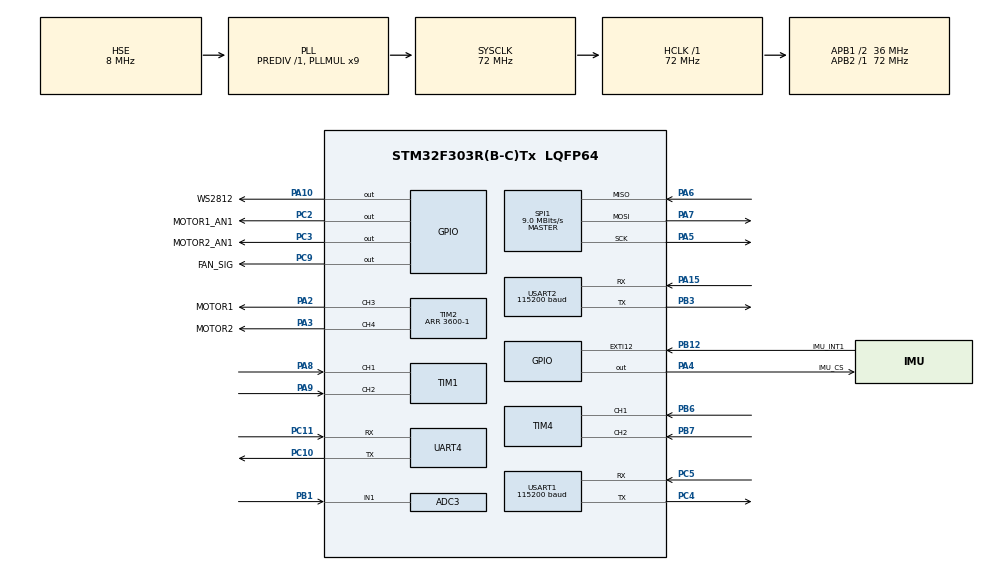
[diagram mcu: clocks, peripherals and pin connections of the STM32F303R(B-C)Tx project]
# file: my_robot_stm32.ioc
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ADC3.Channel-0\#ChannelRegularConversion=ADC_CHANNEL_1
ADC3.NbrOfConversionFlag=1
ADC3.Offset-0\#ChannelRegularConversion=0
ADC3.OffsetNumber-0\#ChannelRegularConversion=ADC_OFFSET_NONE
ADC3.Rank-0\#ChannelRegularConversion=1
ADC3.SamplingTime-0\#ChannelRegularConversion=ADC_SAMPLETIME_601CYCLES_5
ADC3.master=1
Dma.Request0=USART1_RX
Dma.Request1=USART1_TX
Dma.Request2=USART2_RX
Dma.Request3=USART2_TX
Dma.Request4=UART4_RX
Dma.Request5=UART4_TX
Dma.UART4_RX.4.Direction=DMA_PERIPH_TO_MEMORY
Dma.UART4_RX.4.Instance=DMA2_Channel3
Dma.UART4_RX.4.MemDataAlignment=DMA_MDATAALIGN_BYTE
Dma.UART4_RX.4.MemInc=DMA_MINC_ENABLE
Dma.UART4_RX.4.Mode=DMA_NORMAL
Dma.UART4_RX.4.PeriphDataAlignment=DMA_PDATAALIGN_BYTE
Dma.UART4_RX.4.PeriphInc=DMA_PINC_DISABLE
Dma.UART4_RX.4.Priority=DMA_PRIORITY_LOW
Dma.UART4_TX.5.Direction=DMA_MEMORY_TO_PERIPH
Dma.UART4_TX.5.Instance=DMA2_Channel5
Dma.UART4_TX.5.MemDataAlignment=DMA_MDATAALIGN_BYTE
Dma.UART4_TX.5.MemInc=DMA_MINC_ENABLE
Dma.UART4_TX.5.Mode=DMA_NORMAL
Dma.UART4_TX.5.PeriphDataAlignment=DMA_PDATAALIGN_BYTE
Dma.UART4_TX.5.PeriphInc=DMA_PINC_DISABLE
Dma.UART4_TX.5.Priority=DMA_PRIORITY_LOW
Dma.USART1_RX.0.Direction=DMA_PERIPH_TO_MEMORY
Dma.USART1_RX.0.Instance=DMA1_Channel5
Dma.USART1_RX.0.MemDataAlignment=DMA_MDATAALIGN_BYTE
Dma.USART1_RX.0.MemInc=DMA_MINC_ENABLE
Dma.USART1_RX.0.Mode=DMA_NORMAL
Dma.USART1_RX.0.PeriphDataAlignment=DMA_PDATAALIGN_BYTE
Dma.USART1_RX.0.PeriphInc=DMA_PINC_DISABLE
Dma.USART1_RX.0.Priority=DMA_PRIORITY_LOW
Dma.USART1_TX.1.Direction=DMA_MEMORY_TO_PERIPH
Dma.USART1_TX.1.Instance=DMA1_Channel4
Dma.USART1_TX.1.MemDataAlignment=DMA_MDATAALIGN_BYTE
Dma.USART1_TX.1.MemInc=DMA_MINC_ENABLE
Dma.USART1_TX.1.Mode=DMA_NORMAL
Dma.USART1_TX.1.PeriphDataAlignment=DMA_PDATAALIGN_BYTE
Dma.USART1_TX.1.PeriphInc=DMA_PINC_DISABLE
Dma.USART1_TX.1.Priority=DMA_PRIORITY_LOW
Dma.USART2_RX.2.Direction=DMA_PERIPH_TO_MEMORY
Dma.USART2_RX.2.Instance=DMA1_Channel6
Dma.USART2_RX.2.MemDataAlignment=DMA_MDATAALIGN_BYTE
Dma.USART2_RX.2.MemInc=DMA_MINC_ENABLE
Dma.USART2_RX.2.Mode=DMA_NORMAL
Dma.USART2_RX.2.PeriphDataAlignment=DMA_PDATAALIGN_BYTE
Dma.USART2_RX.2.PeriphInc=DMA_PINC_DISABLE
Dma.USART2_RX.2.Priority=DMA_PRIORITY_LOW
Dma.USART2_TX.3.Direction=DMA_MEMORY_TO_PERIPH
Dma.USART2_TX.3.Instance=DMA1_Channel7
Dma.USART2_TX.3.MemDataAlignment=DMA_MDATAALIGN_BYTE
Dma.USART2_TX.3.MemInc=DMA_MINC_ENABLE
Dma.USART2_TX.3.Mode=DMA_NORMAL
Dma.USART2_TX.3.PeriphDataAlignment=DMA_PDATAALIGN_BYTE
Dma.USART2_TX.3.PeriphInc=DMA_PINC_DISABLE
Dma.USART2_TX.3.Priority=DMA_PRIORITY_LOW
Mcu.Family=STM32F3
Mcu.Name=STM32F303R(B-C)Tx
Mcu.Package=LQFP64
NVIC.DMA1_Channel4_IRQn=true\:0\:0\:false\:false\:true\:false\:true\:true
NVIC.DMA1_Channel5_IRQn=true\:0\:0\:false\:false\:true\:false\:true\:true
NVIC.DMA1_Channel6_IRQn=true\:0\:0\:false\:false\:true\:false\:true\:true
NVIC.DMA1_Channel7_IRQn=true\:0\:0\:false\:false\:true\:false\:true\:true
NVIC.DMA2_Channel3_IRQn=true\:0\:0\:false\:false\:true\:false\:true\:true
NVIC.DMA2_Channel5_IRQn=true\:0\:0\:false\:false\:true\:false\:true\:true
NVIC.EXTI15_10_IRQn=true\:2\:0\:true\:false\:true\:true\:true\:true
NVIC.PriorityGroup=NVIC_PRIORITYGROUP_4
NVIC.TIM6_DAC_IRQn=true\:0\:0\:false\:false\:true\:true\:true\:true
NVIC.UART4_IRQn=true\:0\:0\:false\:false\:true\:true\:true\:true
NVIC.USART1_IRQn=true\:1\:0\:true\:false\:true\:true\:true\:true
NVIC.USART2_IRQn=true\:1\:0\:true\:false\:true\:true\:true\:true
PA10.GPIO_Label=WS2812
PA10.GPIO_PuPd=GPIO_NOPULL
PA10.GPIO_Speed=GPIO_SPEED_FREQ_LOW
PA10.Signal=GPIO_Output
PA13.Mode=Serial_Wire
PA13.Signal=SYS_JTMS-SWDIO
PA14.Mode=Serial_Wire
PA14.Signal=SYS_JTCK-SWCLK
PA15.Mode=Asynchronous
PA15.Signal=USART2_RX
PA2.GPIO_Label=MOTOR1
PA2.Signal=S_TIM2_CH3
PA3.GPIO_Label=MOTOR2
PA3.Signal=S_TIM2_CH4
PA4.GPIO_Label=IMU_CS
PA4.PinState=GPIO_PIN_SET
PA4.Signal=GPIO_Output
PA5.Mode=Full_Duplex_Master
PA5.Signal=SPI1_SCK
PA6.Mode=Full_Duplex_Master
PA6.Signal=SPI1_MISO
PA7.Mode=Full_Duplex_Master
PA7.Signal=SPI1_MOSI
PA8.Signal=S_TIM1_CH1
PA9.Signal=S_TIM1_CH2
PB1.Mode=IN1-Single-Ended
PB1.Signal=ADC3_IN1
PB12.GPIO_Label=IMU_INT1
PB12.GPIO_PuPd=GPIO_PULLDOWN
PB12.Signal=GPXTI12
PB3.Mode=Asynchronous
PB3.Signal=USART2_TX
PB6.Signal=S_TIM4_CH1
PB7.Signal=S_TIM4_CH2
PC10.Mode=Asynchronous
PC10.Signal=UART4_TX
PC11.Mode=Asynchronous
PC11.Signal=UART4_RX
PC2.GPIO_Label=MOTOR1_AN1
PC2.Signal=GPIO_Output
PC3.GPIO_Label=MOTOR2_AN1
PC3.Signal=GPIO_Output
PC4.Mode=Asynchronous
PC4.Signal=USART1_TX
PC5.Mode=Asynchronous
PC5.Signal=USART1_RX
PC9.GPIO_Label=FAN_SIG 
PC9.Signal=GPIO_Output
PF0-OSC_IN.Mode=HSE-External-Oscillator
PF0-OSC_IN.Signal=RCC_OSC_IN
PF1-OSC_OUT.Mode=HSE-External-Oscillator
PF1-OSC_OUT.Signal=RCC_OSC_OUT
ProjectManager.HeapSize=0x200
ProjectManager.StackSize=0x400
ProjectManager.TargetToolchain=STM32CubeIDE
RCC.AHBFreq_Value=72000000
RCC.APB1CLKDivider=RCC_HCLK_DIV2
RCC.APB1Freq_Value=36000000
RCC.APB1TimFreq_Value=72000000
RCC.APB2Freq_Value=72000000
RCC.APB2TimFreq_Value=72000000
RCC.CortexFreq_Value=72000000
RCC.HCLKFreq_Value=72000000
RCC.HSE_VALUE=8000000
RCC.HSI_VALUE=8000000
RCC.LSE_VALUE=32768
RCC.PLLMUL=RCC_PLL_MUL9
RCC.PLLSourceVirtual=RCC_PLLSOURCE_HSE
RCC.SYSCLKFreq_VALUE=72000000
RCC.SYSCLKSourceVirtual=RCC_SYSCLKSOURCE_PLLCLK
RCC.USBFreq_Value=72000000
SH.S_TIM1_CH1.0=TIM1_CH1,Encoder_Interface
SH.S_TIM1_CH2.0=TIM1_CH2,Encoder_Interface
SH.S_TIM2_CH3.0=TIM2_CH3,PWM Generation3 CH3
SH.S_TIM2_CH4.0=TIM2_CH4,PWM Generation4 CH4
SH.S_TIM4_CH1.0=TIM4_CH1,Encoder_Interface
SH.S_TIM4_CH2.0=TIM4_CH2,Encoder_Interface
SPI1.BaudRatePrescaler=SPI_BAUDRATEPRESCALER_8
SPI1.CLKPhase=SPI_PHASE_1EDGE
SPI1.CLKPolarity=SPI_POLARITY_LOW
SPI1.CalculateBaudRate=9.0 MBits/s
SPI1.DataSize=SPI_DATASIZE_8BIT
SPI1.Direction=SPI_DIRECTION_2LINES
SPI1.Mode=SPI_MODE_MASTER
SPI1.VirtualType=VM_MASTER
TIM1.AutoReloadPreload=TIM_AUTORELOAD_PRELOAD_ENABLE
TIM1.EncoderMode=TIM_ENCODERMODE_TI12
TIM1.IC1Filter=10
TIM1.IC2Filter=10
TIM2.AutoReloadPreload=TIM_AUTORELOAD_PRELOAD_ENABLE
TIM2.Channel-PWM\ Generation3\ CH3=TIM_CHANNEL_3
TIM2.Channel-PWM\ Generation4\ CH4=TIM_CHANNEL_4
TIM2.OCPolarity_3=TIM_OCPOLARITY_HIGH
TIM2.OCPolarity_4=TIM_OCPOLARITY_HIGH
TIM2.Period=3600-1
TIM4.AutoReloadPreload=TIM_AUTORELOAD_PRELOAD_ENABLE
TIM4.EncoderMode=TIM_ENCODERMODE_TI12
TIM4.IC1Filter=10
TIM4.IC2Filter=10
TIM6.AutoReloadPreload=TIM_AUTORELOAD_PRELOAD_ENABLE
TIM6.Period=100-1
TIM6.Prescaler=7200-1
USART1.BaudRate=115200
USART1.VirtualMode-Asynchronous=VM_ASYNC
USART2.BaudRate=115200
USART2.VirtualMode-Asynchronous=VM_ASYNC
VP_ADC3_Vref_Input.Mode=IN-Vrefint
VP_TIM6_VS_ClockSourceINT.Mode=Enable_Timer
board=custom

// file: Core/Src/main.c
/* USER CODE BEGIN Header */
/**
  ******************************************************************************
  * @file           : main.c
  * @brief          : Main program body
  ******************************************************************************
  * @attention
  *
  * Copyright (c) 2026 STMicroelectronics.
  * All rights reserved.
  *
  * This software is licensed under terms that can be found in the LICENSE file
  * in the root directory of this software component.
  * If no LICENSE file comes with this software, it is provided AS-IS.
  *
  ******************************************************************************
  */
/* USER CODE END Header */
#include "main.h"
#include "adc.h"
#include "dma.h"
#include "spi.h"
#include "tim.h"
#include "usart.h"
#include "gpio.h"

/* USER CODE BEGIN Includes */
#include "app/motor_controller.h"
#include "app/debug_uart.h"
#include "app/calibration.h"
#include "app/imu.h"
#include "app/comm_protocol.h"
#include "app/ws2812.h"
#include "app/battery.h"
//#include "app/motor_driver.h"
//#include "app/robot_config.h"
/* USER CODE END Includes */

/* USER CODE BEGIN PV */
float PWM_L = 0.0f;
float PWM_R = 0.0f;
/* Velocity targets are now managed by comm_protocol module */

/* USER CODE END PV */

void SystemClock_Config(void);

int main(void)
{

  /* MCU Configuration--------------------------------------------------------*/

  /* Reset of all peripherals, Initializes the Flash interface and the Systick. */
  HAL_Init();

  /* Configure the system clock */
  SystemClock_Config();

  /* Initialize all configured peripherals */
  MX_GPIO_Init();
  MX_DMA_Init();
  MX_TIM1_Init();
  MX_TIM2_Init();
  MX_TIM4_Init();
  MX_TIM6_Init();
  MX_USART1_UART_Init();
  MX_USART2_UART_Init();
  MX_UART4_Init();
  MX_SPI1_Init();
  MX_ADC3_Init();
  /* USER CODE BEGIN 2 */
  //  验证电机方向
//  motor_driver_init();
  /* 验证电机方向时需注释不启动闭环 */
  motor_controller_init();
//  debug_uart_init();
  HAL_Delay(2500);
  imu_init();
  imu_calibrate_gyro_bias();   /* blocking, robot must be stationary */
  battery_init();              /* ADC self-cal + latch VREFEN, must precede TIM6 */
  comm_protocol_init();
  HAL_TIM_Base_Start_IT(&htim6);
  WS2812_Force_Off_PA10();  /* 关闭LED灯 */
  FAN_on();					/* 开启风扇MOS */
  /* USER CODE END 2 */

  /* Infinite loop */
  /* USER CODE BEGIN WHILE */
  while (1)
  {
	motor_controller_set_target(
		comm_protocol_get_left_rad_s(),
		comm_protocol_get_right_rad_s());

	/* Blocking ADC read (~0.3 ms), self-gated to 2 Hz.
	 * Must stay out of the TIM6 ISR — see battery.h. */
	battery_tick();

//	motor_controller_set_target(
//		PWM_L,
//		PWM_R);

//	debug_output();

    /* USER CODE END WHILE */

    /* USER CODE BEGIN 3 */
//    calibration_tick();

//    if (!calibration_is_running() && !cal_trigger) {
//      debug_output();
//    }
  }
  /* USER CODE END 3 */
}

void SystemClock_Config(void)
{
  RCC_OscInitTypeDef RCC_OscInitStruct = {0};
  RCC_ClkInitTypeDef RCC_ClkInitStruct = {0};
  RCC_PeriphCLKInitTypeDef PeriphClkInit = {0};

  /** Initializes the RCC Oscillators according to the specified parameters
  * in the RCC_OscInitTypeDef structure.
  */
  RCC_OscInitStruct.OscillatorType = RCC_OSCILLATORTYPE_HSE;
  RCC_OscInitStruct.HSEState = RCC_HSE_ON;
  RCC_OscInitStruct.HSEPredivValue = RCC_HSE_PREDIV_DIV1;
  RCC_OscInitStruct.HSIState = RCC_HSI_ON;
  RCC_OscInitStruct.PLL.PLLState = RCC_PLL_ON;
  RCC_OscInitStruct.PLL.PLLSource = RCC_PLLSOURCE_HSE;
  RCC_OscInitStruct.PLL.PLLMUL = RCC_PLL_MUL9;
  if (HAL_RCC_OscConfig(&RCC_OscInitStruct) != HAL_OK)
  {
    Error_Handler();
  }

  /** Initializes the CPU, AHB and APB buses clocks
  */
  RCC_ClkInitStruct.ClockType = RCC_CLOCKTYPE_HCLK|RCC_CLOCKTYPE_SYSCLK
                              |RCC_CLOCKTYPE_PCLK1|RCC_CLOCKTYPE_PCLK2;
  RCC_ClkInitStruct.SYSCLKSource = RCC_SYSCLKSOURCE_PLLCLK;
  RCC_ClkInitStruct.AHBCLKDivider = RCC_SYSCLK_DIV1;
  RCC_ClkInitStruct.APB1CLKDivider = RCC_HCLK_DIV2;
  RCC_ClkInitStruct.APB2CLKDivider = RCC_HCLK_DIV1;

  if (HAL_RCC_ClockConfig(&RCC_ClkInitStruct, FLASH_LATENCY_2) != HAL_OK)
  {
    Error_Handler();
  }
  PeriphClkInit.PeriphClockSelection = RCC_PERIPHCLK_USART1|RCC_PERIPHCLK_USART2
                              |RCC_PERIPHCLK_UART4|RCC_PERIPHCLK_TIM1
                              |RCC_PERIPHCLK_ADC34;
  PeriphClkInit.Usart1ClockSelection = RCC_USART1CLKSOURCE_PCLK2;
  PeriphClkInit.Usart2ClockSelection = RCC_USART2CLKSOURCE_PCLK1;
  PeriphClkInit.Uart4ClockSelection = RCC_UART4CLKSOURCE_PCLK1;
  PeriphClkInit.Adc34ClockSelection = RCC_ADC34PLLCLK_DIV1;
  PeriphClkInit.Tim1ClockSelection = RCC_TIM1CLK_HCLK;
  if (HAL_RCCEx_PeriphCLKConfig(&PeriphClkInit) != HAL_OK)
  {
    Error_Handler();
  }
}

/* USER CODE BEGIN 4 */
void HAL_TIM_PeriodElapsedCallback(TIM_HandleTypeDef *htim)
{
    if (htim->Instance == TIM6) {
        motor_controller_update();
    }
}
/* USER CODE END 4 */

void Error_Handler(void)
{
  __disable_irq();
  while (1)
  {
  }
}
